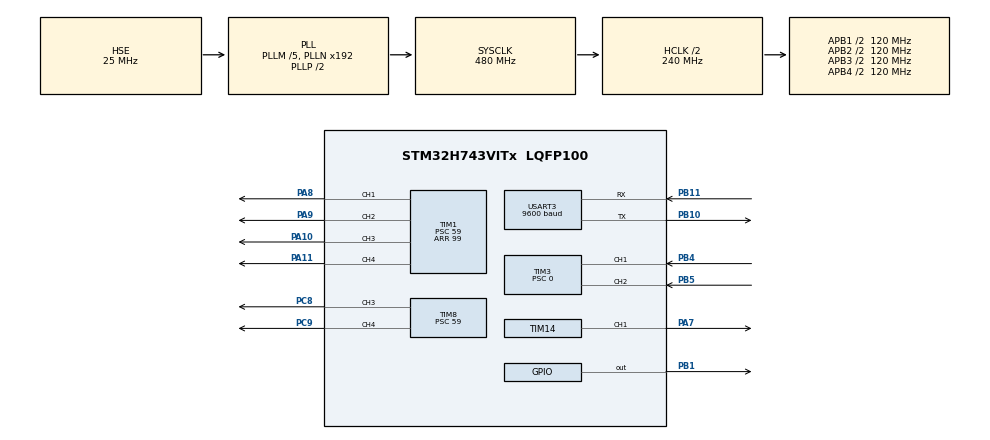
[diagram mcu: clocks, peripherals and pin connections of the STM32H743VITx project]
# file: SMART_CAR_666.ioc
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CORTEX_M7.default_mode_Activation=1
Dma.Request0=USART3_TX
Dma.USART3_TX.0.Direction=DMA_MEMORY_TO_PERIPH
Dma.USART3_TX.0.EventEnable=DISABLE
Dma.USART3_TX.0.FIFOMode=DMA_FIFOMODE_DISABLE
Dma.USART3_TX.0.Instance=DMA1_Stream0
Dma.USART3_TX.0.MemDataAlignment=DMA_MDATAALIGN_BYTE
Dma.USART3_TX.0.MemInc=DMA_MINC_ENABLE
Dma.USART3_TX.0.Mode=DMA_NORMAL
Dma.USART3_TX.0.PeriphDataAlignment=DMA_PDATAALIGN_BYTE
Dma.USART3_TX.0.PeriphInc=DMA_PINC_DISABLE
Dma.USART3_TX.0.Polarity=HAL_DMAMUX_REQ_GEN_RISING
Dma.USART3_TX.0.Priority=DMA_PRIORITY_LOW
Dma.USART3_TX.0.RequestNumber=1
Dma.USART3_TX.0.SignalID=NONE
Dma.USART3_TX.0.SyncEnable=DISABLE
Dma.USART3_TX.0.SyncPolarity=HAL_DMAMUX_SYNC_NO_EVENT
Dma.USART3_TX.0.SyncRequestNumber=1
Dma.USART3_TX.0.SyncSignalID=NONE
Mcu.Family=STM32H7
Mcu.Name=STM32H743VITx
Mcu.Package=LQFP100
NVIC.DMA1_Stream0_IRQn=true\:0\:0\:false\:false\:true\:false\:true\:true
NVIC.PriorityGroup=NVIC_PRIORITYGROUP_4
NVIC.USART3_IRQn=true\:0\:0\:false\:false\:true\:false\:true\:true
PA10.Signal=S_TIM1_CH3
PA11.Signal=S_TIM1_CH4
PA13\ (JTMS/SWDIO).Mode=Serial_Wire
PA13\ (JTMS/SWDIO).Signal=DEBUG_JTMS-SWDIO
PA14\ (JTCK/SWCLK).Mode=Serial_Wire
PA14\ (JTCK/SWCLK).Signal=DEBUG_JTCK-SWCLK
PA7.Signal=S_TIM14_CH1
PA8.Signal=S_TIM1_CH1
PA9.Signal=S_TIM1_CH2
PB1.Signal=GPIO_Output
PB10.Mode=Asynchronous
PB10.Signal=USART3_TX
PB11.Mode=Asynchronous
PB11.Signal=USART3_RX
PB4\ (NJTRST).GPIO_PuPd=GPIO_PULLUP
PB4\ (NJTRST).Signal=S_TIM3_CH1
PB5.GPIO_PuPd=GPIO_PULLUP
PB5.Signal=S_TIM3_CH2
PC8.Signal=S_TIM8_CH3
PC9.Signal=S_TIM8_CH4
PH0-OSC_IN\ (PH0).Mode=HSE-External-Oscillator
PH0-OSC_IN\ (PH0).Signal=RCC_OSC_IN
PH1-OSC_OUT\ (PH1).Mode=HSE-External-Oscillator
PH1-OSC_OUT\ (PH1).Signal=RCC_OSC_OUT
ProjectManager.HeapSize=0x200
ProjectManager.StackSize=0x400
ProjectManager.TargetToolchain=CMake
RCC.ADCFreq_Value=50390625
RCC.APB1Freq_Value=120000000
RCC.APB2Freq_Value=120000000
RCC.APB3Freq_Value=120000000
RCC.APB4Freq_Value=120000000
RCC.CortexFreq_Value=480000000
RCC.D1PPRE=RCC_APB3_DIV2
RCC.D2PPRE1=RCC_APB1_DIV2
RCC.D2PPRE2=RCC_APB2_DIV2
RCC.D3PPRE=RCC_APB4_DIV2
RCC.DIVM1=5
RCC.DIVN1=192
RCC.HCLKFreq_Value=240000000
RCC.HPRE=RCC_HCLK_DIV2
RCC.HSE_VALUE=25000000
RCC.PLLSourceVirtual=RCC_PLLSOURCE_HSE
RCC.PWR_Regulator_Voltage_Scale=PWR_REGULATOR_VOLTAGE_SCALE0
RCC.SYSCLKFreq_VALUE=480000000
RCC.SYSCLKSource=RCC_SYSCLKSOURCE_PLLCLK
RCC.USBFreq_Value=480000000
SH.S_TIM14_CH1.0=TIM14_CH1,PWM Generation1 CH1
SH.S_TIM1_CH1.0=TIM1_CH1,PWM Generation1 CH1
SH.S_TIM1_CH2.0=TIM1_CH2,PWM Generation2 CH2
SH.S_TIM1_CH3.0=TIM1_CH3,PWM Generation3 CH3
SH.S_TIM1_CH4.0=TIM1_CH4,PWM Generation4 CH4
SH.S_TIM3_CH1.0=TIM3_CH1,Encoder_Interface
SH.S_TIM3_CH2.0=TIM3_CH2,Encoder_Interface
SH.S_TIM8_CH3.0=TIM8_CH3,PWM Generation3 CH3
SH.S_TIM8_CH4.0=TIM8_CH4,PWM Generation4 CH4
TIM1.Channel-PWM\ Generation1\ CH1=TIM_CHANNEL_1
TIM1.Channel-PWM\ Generation2\ CH2=TIM_CHANNEL_2
TIM1.Channel-PWM\ Generation3\ CH3=TIM_CHANNEL_3
TIM1.Channel-PWM\ Generation4\ CH4=TIM_CHANNEL_4
TIM1.Period=99
TIM1.Prescaler=59
TIM14.Channel=TIM_CHANNEL_1
TIM14.Period=99
TIM14.Prescaler=59
TIM3.Period=65535
TIM3.Prescaler=0
TIM8.Channel-PWM\ Generation3\ CH3=TIM_CHANNEL_3
TIM8.Channel-PWM\ Generation4\ CH4=TIM_CHANNEL_4
TIM8.Period=99
TIM8.Prescaler=59
USART3.BaudRate=9600
USART3.VirtualMode-Asynchronous=VM_ASYNC
VP_MEMORYMAP_VS_MEMORYMAP.Mode=CurAppReg
VP_TIM14_VS_ClockSourceINT.Mode=Enable_Timer
VP_TIM8_VS_ClockSourceINT.Mode=Internal
board=custom

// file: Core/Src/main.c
/* USER CODE BEGIN Header */
/**
  ******************************************************************************
  * @file           : main.c
  * @brief          : Main program body
  ******************************************************************************
  * @attention
  *
  * Copyright (c) 2026 STMicroelectronics.
  * All rights reserved.
  *
  * This software is licensed under terms that can be found in the LICENSE file
  * in the root directory of this software component.
  * If no LICENSE file comes with this software, it is provided AS-IS.
  *
  ******************************************************************************
  */
/* USER CODE END Header */
#include "main.h"

/* USER CODE BEGIN Includes */
#include "Motor.h"
#include "Encoder.h"
#include "Serial.h"
#include "PID.h"
/* USER CODE END Includes */

/* USER CODE BEGIN PD */
#define APP_CONTROL_PERIOD_MS       UINT32_C(20)          //主循环每隔约20 ms读取编码器并更新电机PWM
#define APP_TELEMETRY_PERIOD_MS     UINT32_C(200)         //每隔约200 ms通过串口发送一行运行数据
#define APP_START_DELAY_MS          UINT32_C(300)         //从应用开始计时后，至少等待300 ms才允许输出设定的PWM
/* 每转计数未知时传0，只报告计数/s，避免将猜测参数用于转速或闭环。 */
#define APP_ENCODER_COUNTS_PER_REV  0.0f

/* 速度环串口命令字符 */
#define APP_SERIAL_CMD_SET_SPEED    'S'   /* S<数值>：设定目标速度 (counts/s) */
#define APP_SERIAL_CMD_ENABLE       'E'   /* E1/E0：使能/禁用速度环 */
#define APP_SERIAL_CMD_KP           'P'   /* P<数值>：设定Kp */
#define APP_SERIAL_CMD_KI           'I'   /* I<数值>：设定Ki */
#define APP_SERIAL_CMD_KD           'D'   /* D<数值>：设定Kd */

#define APP_SERIAL_CMD_BUFFER_SIZE  UINT32_C(32)

#define APP_FAULT_NONE              UINT32_C(0)
#define APP_FAULT_ENCODER           UINT32_C(1)
#define APP_FAULT_PWM               UINT32_C(2)
/* USER CODE END PD */

TIM_HandleTypeDef htim1;
TIM_HandleTypeDef htim3;
TIM_HandleTypeDef htim8;
TIM_HandleTypeDef htim14;

UART_HandleTypeDef huart3;
DMA_HandleTypeDef hdma_usart3_tx;

/* USER CODE BEGIN PV */
/* 前三路范围-99~99；第四路只正向，范围0~99。当前四路均给正命令。 */
// [WARNING]: 启动300ms后四路输出以下PWM；百分比不代表实测转速。
volatile int32_t g_motor1_command_percent = -20; /* TIM8：PC8 / PC9 *///后正
volatile int32_t g_motor2_command_percent = 0; /* TIM1：PA10 / PA11 *///前
volatile int32_t g_motor3_command_percent = -20; /* TIM1：PA8 / PA9 *///前
volatile int32_t g_motor4_command_percent = 20; /* TIM14：PA7，PB1固定低 *///后正
volatile uint32_t g_motor1_applied_percent = 0U;
volatile uint32_t g_motor2_applied_percent = 0U;
volatile uint32_t g_motor3_applied_percent = 0U;
volatile uint32_t g_motor4_applied_percent = 0U;
volatile float g_encoder_counts_per_second = 0.0f;
volatile int32_t g_encoder_delta_counts = 0;
volatile uint32_t g_app_fault = APP_FAULT_NONE;
volatile HAL_StatusTypeDef g_serial_last_status = HAL_OK;

/* 速度环闭环变量 */
static PID_TypeDef g_speed_pid;
static float g_speed_setpoint_cps = 0.0f;   /* 目标速度，counts/s */
static int32_t g_speed_loop_output = 0;     /* PID输出，PWM百分比 */
static uint8_t g_speed_loop_enabled = 0U;   /* 速度环使能标志 */
static char g_serial_cmd_buf[APP_SERIAL_CMD_BUFFER_SIZE];
static uint8_t g_serial_cmd_len = 0U;

static uint32_t app_start_tick;
static uint32_t last_control_tick;
static uint32_t last_telemetry_tick;
static uint8_t motor_initialized;
/* USER CODE END PV */

void SystemClock_Config(void);
static void MPU_Config(void);
static void MX_GPIO_Init(void);
static void MX_DMA_Init(void);
static void MX_TIM8_Init(void);
static void MX_USART3_UART_Init(void);
static void MX_TIM3_Init(void);
static void MX_TIM1_Init(void);
static void MX_TIM14_Init(void);
/* USER CODE BEGIN PFP */

/* 串口命令解析：S<速度> / E1|E0 / P<kp> / I<ki> / D<kd> */
void App_ProcessSerialCmd(const char *cmd);

/* USER CODE END PFP */

int main(void)
{

  /* MPU Configuration--------------------------------------------------------*/
  MPU_Config();

  /* MCU Configuration--------------------------------------------------------*/

  /* Reset of all peripherals, Initializes the Flash interface and the Systick. */
  HAL_Init();

  /* Configure the system clock */
  SystemClock_Config();

  /* Initialize all configured peripherals */
  MX_GPIO_Init();
  MX_DMA_Init();
  MX_TIM8_Init();
  MX_USART3_UART_Init();
  MX_TIM3_Init();
  MX_TIM1_Init();
  MX_TIM14_Init();
  /* USER CODE BEGIN 2 */
  /* CubeMX完成配置，这里只启动PWM、编码器和串口接收。 */
  if (Motor_Init() != HAL_OK)
  {
    g_app_fault = APP_FAULT_PWM;
    Error_Handler();
  }
  motor_initialized = 1U;

  if (Encoder_Init(APP_ENCODER_COUNTS_PER_REV) != HAL_OK)
  {
    g_app_fault = APP_FAULT_ENCODER;
    Error_Handler();
  }
  if (Serial_Init() != HAL_OK)
  {
    Error_Handler();
  }

  /* 速度环PID初始化；增益可通过串口命令 P/I/D 在线调整。 */
  PID_Init(&g_speed_pid, 1.0f, 0.5f, 0.0f);
  PID_LimitConfig(&g_speed_pid, 99.0f, -99.0f);
  PID_ChangeSP(&g_speed_pid, 0.0f);

  app_start_tick = HAL_GetTick();
  last_control_tick = app_start_tick;
  last_telemetry_tick = app_start_tick;
  /* 串口发送失败只记录状态，不阻止电机运行。 */
  g_serial_last_status =
      Serial_SendString("cmd1_pct,duty1_pct,cmd2_pct,duty2_pct,cmd3_pct,duty3_pct,cmd4_pct,duty4_pct,sp_cps,fps_cps,pid_out_pct,en,fault\r\n") != 0U
      ? HAL_OK : Serial_GetLastStatus();

  /* USER CODE END 2 */

  /* Infinite loop */
  while (1)
  {

    /* USER CODE BEGIN 3 */
    uint32_t now_tick;
    HAL_StatusTypeDef encoder_status;

    Serial_Proc();
    g_serial_last_status = Serial_GetLastStatus();
    now_tick = HAL_GetTick();

    /* ---------- 串口命令处理（非阻塞，逐字节读取） ---------- */
    {
      uint8_t rx_byte;
      while (Serial_ReadByte(&rx_byte) != 0U)
      {
        if ((rx_byte == '\r') || (rx_byte == '\n'))
        {
          /* 命令行结束，解析 */
          if (g_serial_cmd_len > 0U)
          {
            g_serial_cmd_buf[g_serial_cmd_len] = '\0';
            App_ProcessSerialCmd(g_serial_cmd_buf);
          }
          g_serial_cmd_len = 0U;
        }
        else if (g_serial_cmd_len < (APP_SERIAL_CMD_BUFFER_SIZE - 1U))
        {
          g_serial_cmd_buf[g_serial_cmd_len] = (char)rx_byte;
          g_serial_cmd_len++;
        }
      }
    }

    if ((uint32_t)(now_tick - last_control_tick) >= APP_CONTROL_PERIOD_MS)
    {
      last_control_tick = now_tick;
      /* 20ms只用于调度，不再因单次间隔超过100ms锁定停机。 */
      encoder_status = Encoder_Update();
      if ((encoder_status != HAL_OK) && (encoder_status != HAL_BUSY))
      {
        g_app_fault = APP_FAULT_ENCODER;
        Error_Handler();
      }
      g_encoder_counts_per_second = Encoder_GetCountsPerSecond_L();
      g_encoder_delta_counts = Encoder_GetDelta_L();

      /* ---------- 速度环闭环（电机1） ---------- */
      if (g_speed_loop_enabled != 0U)
      {
        if (Encoder_IsReady())
        {
          float feedback_cps = Encoder_GetCountsPerSecond_L();
          float pid_output = PID_Compute(&g_speed_pid, feedback_cps);
          g_speed_loop_output = (int32_t)pid_output;
          g_motor1_command_percent = g_speed_loop_output;
        }
        else
        {
          /* 编码器未就绪，禁止输出 */
          g_motor1_command_percent = 0;
          g_speed_loop_output = 0;
        }
      }

      if ((uint32_t)(now_tick - app_start_tick) >= APP_START_DELAY_MS)
      {
        if (Load(g_motor1_command_percent, g_motor2_command_percent,
                 g_motor3_command_percent, g_motor4_command_percent) != HAL_OK)
        {
          g_app_fault = APP_FAULT_PWM;
          Error_Handler();
        }
      }
      g_motor1_applied_percent = Motor_GetDuty1Percent();
      g_motor2_applied_percent = Motor_GetDuty2Percent();
      g_motor3_applied_percent = Motor_GetDuty3Percent();
      g_motor4_applied_percent = Motor_GetDuty4Percent();
    }

    if ((uint32_t)(now_tick - last_telemetry_tick) >= APP_TELEMETRY_PERIOD_MS)
    {
      last_telemetry_tick = now_tick;
      g_serial_last_status =
          Serial_Printf("%ld,%lu,%ld,%lu,%ld,%lu,%ld,%lu,%f,%f,%ld,%d,%u,%lu\r\n",
                        (long)g_motor1_command_percent,
                        (unsigned long)g_motor1_applied_percent,
                        (long)g_motor2_command_percent,
                        (unsigned long)g_motor2_applied_percent,
                        (long)g_motor3_command_percent,
                        (unsigned long)g_motor3_applied_percent,
                        (long)g_motor4_command_percent,
                        (unsigned long)g_motor4_applied_percent,
                        g_speed_setpoint_cps,           /* 目标速度 counts/s */
                        g_encoder_counts_per_second,    /* 实际速度 counts/s */
                        (long)g_speed_loop_output,      /* PID输出 PWM% */
                        (int)g_speed_loop_enabled,      /* 速度环使能 */
                        (unsigned long)g_app_fault) != 0U
          ? HAL_OK : Serial_GetLastStatus();
    }
  }
  /* USER CODE END 3 */
}

void SystemClock_Config(void)
{
  RCC_OscInitTypeDef RCC_OscInitStruct = {0};
  RCC_ClkInitTypeDef RCC_ClkInitStruct = {0};

  /** Supply configuration update enable
  */
  HAL_PWREx_ConfigSupply(PWR_LDO_SUPPLY);

  /** Configure the main internal regulator output voltage
  */
  __HAL_PWR_VOLTAGESCALING_CONFIG(PWR_REGULATOR_VOLTAGE_SCALE0);

  while(!__HAL_PWR_GET_FLAG(PWR_FLAG_VOSRDY)) {}

  /** Initializes the RCC Oscillators according to the specified parameters
  * in the RCC_OscInitTypeDef structure.
  */
  RCC_OscInitStruct.OscillatorType = RCC_OSCILLATORTYPE_HSE;
  RCC_OscInitStruct.HSEState = RCC_HSE_ON;
  RCC_OscInitStruct.PLL.PLLState = RCC_PLL_ON;
  RCC_OscInitStruct.PLL.PLLSource = RCC_PLLSOURCE_HSE;
  RCC_OscInitStruct.PLL.PLLM = 5;
  RCC_OscInitStruct.PLL.PLLN = 192;
  RCC_OscInitStruct.PLL.PLLP = 2;
  RCC_OscInitStruct.PLL.PLLQ = 2;
  RCC_OscInitStruct.PLL.PLLR = 2;
  RCC_OscInitStruct.PLL.PLLRGE = RCC_PLL1VCIRANGE_2;
  RCC_OscInitStruct.PLL.PLLVCOSEL = RCC_PLL1VCOWIDE;
  RCC_OscInitStruct.PLL.PLLFRACN = 0;
  if (HAL_RCC_OscConfig(&RCC_OscInitStruct) != HAL_OK)
  {
    Error_Handler();
  }

  /** Initializes the CPU, AHB and APB buses clocks
  */
  RCC_ClkInitStruct.ClockType = RCC_CLOCKTYPE_HCLK|RCC_CLOCKTYPE_SYSCLK
                              |RCC_CLOCKTYPE_PCLK1|RCC_CLOCKTYPE_PCLK2
                              |RCC_CLOCKTYPE_D3PCLK1|RCC_CLOCKTYPE_D1PCLK1;
  RCC_ClkInitStruct.SYSCLKSource = RCC_SYSCLKSOURCE_PLLCLK;
  RCC_ClkInitStruct.SYSCLKDivider = RCC_SYSCLK_DIV1;
  RCC_ClkInitStruct.AHBCLKDivider = RCC_HCLK_DIV2;
  RCC_ClkInitStruct.APB3CLKDivider = RCC_APB3_DIV2;
  RCC_ClkInitStruct.APB1CLKDivider = RCC_APB1_DIV2;
  RCC_ClkInitStruct.APB2CLKDivider = RCC_APB2_DIV2;
  RCC_ClkInitStruct.APB4CLKDivider = RCC_APB4_DIV2;

  if (HAL_RCC_ClockConfig(&RCC_ClkInitStruct, FLASH_LATENCY_4) != HAL_OK)
  {
    Error_Handler();
  }
}

static void MX_TIM1_Init(void)
{

  TIM_MasterConfigTypeDef sMasterConfig = {0};
  TIM_OC_InitTypeDef sConfigOC = {0};
  TIM_BreakDeadTimeConfigTypeDef sBreakDeadTimeConfig = {0};

  htim1.Instance = TIM1;
  htim1.Init.Prescaler = 59;
  htim1.Init.CounterMode = TIM_COUNTERMODE_UP;
  htim1.Init.Period = 99;
  htim1.Init.ClockDivision = TIM_CLOCKDIVISION_DIV1;
  htim1.Init.RepetitionCounter = 0;
  htim1.Init.AutoReloadPreload = TIM_AUTORELOAD_PRELOAD_DISABLE;
  if (HAL_TIM_PWM_Init(&htim1) != HAL_OK)
  {
    Error_Handler();
  }
  sMasterConfig.MasterOutputTrigger = TIM_TRGO_RESET;
  sMasterConfig.MasterOutputTrigger2 = TIM_TRGO2_RESET;
  sMasterConfig.MasterSlaveMode = TIM_MASTERSLAVEMODE_DISABLE;
  if (HAL_TIMEx_MasterConfigSynchronization(&htim1, &sMasterConfig) != HAL_OK)
  {
    Error_Handler();
  }
  sConfigOC.OCMode = TIM_OCMODE_PWM1;
  sConfigOC.Pulse = 0;
  sConfigOC.OCPolarity = TIM_OCPOLARITY_HIGH;
  sConfigOC.OCNPolarity = TIM_OCNPOLARITY_HIGH;
  sConfigOC.OCFastMode = TIM_OCFAST_DISABLE;
  sConfigOC.OCIdleState = TIM_OCIDLESTATE_RESET;
  sConfigOC.OCNIdleState = TIM_OCNIDLESTATE_RESET;
  if (HAL_TIM_PWM_ConfigChannel(&htim1, &sConfigOC, TIM_CHANNEL_1) != HAL_OK)
  {
    Error_Handler();
  }
  if (HAL_TIM_PWM_ConfigChannel(&htim1, &sConfigOC, TIM_CHANNEL_2) != HAL_OK)
  {
    Error_Handler();
  }
  if (HAL_TIM_PWM_ConfigChannel(&htim1, &sConfigOC, TIM_CHANNEL_3) != HAL_OK)
  {
    Error_Handler();
  }
  if (HAL_TIM_PWM_ConfigChannel(&htim1, &sConfigOC, TIM_CHANNEL_4) != HAL_OK)
  {
    Error_Handler();
  }
  sBreakDeadTimeConfig.OffStateRunMode = TIM_OSSR_DISABLE;
  sBreakDeadTimeConfig.OffStateIDLEMode = TIM_OSSI_DISABLE;
  sBreakDeadTimeConfig.LockLevel = TIM_LOCKLEVEL_OFF;
  sBreakDeadTimeConfig.DeadTime = 0;
  sBreakDeadTimeConfig.BreakState = TIM_BREAK_DISABLE;
  sBreakDeadTimeConfig.BreakPolarity = TIM_BREAKPOLARITY_HIGH;
  sBreakDeadTimeConfig.BreakFilter = 0;
  sBreakDeadTimeConfig.Break2State = TIM_BREAK2_DISABLE;
  sBreakDeadTimeConfig.Break2Polarity = TIM_BREAK2POLARITY_HIGH;
  sBreakDeadTimeConfig.Break2Filter = 0;
  sBreakDeadTimeConfig.AutomaticOutput = TIM_AUTOMATICOUTPUT_DISABLE;
  if (HAL_TIMEx_ConfigBreakDeadTime(&htim1, &sBreakDeadTimeConfig) != HAL_OK)
  {
    Error_Handler();
  }
  HAL_TIM_MspPostInit(&htim1);

}

static void MX_TIM3_Init(void)
{

  TIM_Encoder_InitTypeDef sConfig = {0};
  TIM_MasterConfigTypeDef sMasterConfig = {0};

  htim3.Instance = TIM3;
  htim3.Init.Prescaler = 0;
  htim3.Init.CounterMode = TIM_COUNTERMODE_UP;
  htim3.Init.Period = 65535;
  htim3.Init.ClockDivision = TIM_CLOCKDIVISION_DIV1;
  htim3.Init.AutoReloadPreload = TIM_AUTORELOAD_PRELOAD_DISABLE;
  sConfig.EncoderMode = TIM_ENCODERMODE_TI1;
  sConfig.IC1Polarity = TIM_ICPOLARITY_RISING;
  sConfig.IC1Selection = TIM_ICSELECTION_DIRECTTI;
  sConfig.IC1Prescaler = TIM_ICPSC_DIV1;
  sConfig.IC1Filter = 0;
  sConfig.IC2Polarity = TIM_ICPOLARITY_RISING;
  sConfig.IC2Selection = TIM_ICSELECTION_DIRECTTI;
  sConfig.IC2Prescaler = TIM_ICPSC_DIV1;
  sConfig.IC2Filter = 0;
  if (HAL_TIM_Encoder_Init(&htim3, &sConfig) != HAL_OK)
  {
    Error_Handler();
  }
  sMasterConfig.MasterOutputTrigger = TIM_TRGO_RESET;
  sMasterConfig.MasterSlaveMode = TIM_MASTERSLAVEMODE_DISABLE;
  if (HAL_TIMEx_MasterConfigSynchronization(&htim3, &sMasterConfig) != HAL_OK)
  {
    Error_Handler();
  }

}

static void MX_TIM8_Init(void)
{

  TIM_ClockConfigTypeDef sClockSourceConfig = {0};
  TIM_MasterConfigTypeDef sMasterConfig = {0};
  TIM_OC_InitTypeDef sConfigOC = {0};
  TIM_BreakDeadTimeConfigTypeDef sBreakDeadTimeConfig = {0};

  htim8.Instance = TIM8;
  htim8.Init.Prescaler = 59;
  htim8.Init.CounterMode = TIM_COUNTERMODE_UP;
  htim8.Init.Period = 99;
  htim8.Init.ClockDivision = TIM_CLOCKDIVISION_DIV1;
  htim8.Init.RepetitionCounter = 0;
  htim8.Init.AutoReloadPreload = TIM_AUTORELOAD_PRELOAD_DISABLE;
  if (HAL_TIM_Base_Init(&htim8) != HAL_OK)
  {
    Error_Handler();
  }
  sClockSourceConfig.ClockSource = TIM_CLOCKSOURCE_INTERNAL;
  if (HAL_TIM_ConfigClockSource(&htim8, &sClockSourceConfig) != HAL_OK)
  {
    Error_Handler();
  }
  if (HAL_TIM_PWM_Init(&htim8) != HAL_OK)
  {
    Error_Handler();
  }
  sMasterConfig.MasterOutputTrigger = TIM_TRGO_RESET;
  sMasterConfig.MasterOutputTrigger2 = TIM_TRGO2_RESET;
  sMasterConfig.MasterSlaveMode = TIM_MASTERSLAVEMODE_DISABLE;
  if (HAL_TIMEx_MasterConfigSynchronization(&htim8, &sMasterConfig) != HAL_OK)
  {
    Error_Handler();
  }
  sConfigOC.OCMode = TIM_OCMODE_PWM1;
  sConfigOC.Pulse = 0;
  sConfigOC.OCPolarity = TIM_OCPOLARITY_HIGH;
  sConfigOC.OCNPolarity = TIM_OCNPOLARITY_HIGH;
  sConfigOC.OCFastMode = TIM_OCFAST_DISABLE;
  sConfigOC.OCIdleState = TIM_OCIDLESTATE_RESET;
  sConfigOC.OCNIdleState = TIM_OCNIDLESTATE_RESET;
  if (HAL_TIM_PWM_ConfigChannel(&htim8, &sConfigOC, TIM_CHANNEL_3) != HAL_OK)
  {
    Error_Handler();
  }
  if (HAL_TIM_PWM_ConfigChannel(&htim8, &sConfigOC, TIM_CHANNEL_4) != HAL_OK)
  {
    Error_Handler();
  }
  sBreakDeadTimeConfig.OffStateRunMode = TIM_OSSR_DISABLE;
  sBreakDeadTimeConfig.OffStateIDLEMode = TIM_OSSI_DISABLE;
  sBreakDeadTimeConfig.LockLevel = TIM_LOCKLEVEL_OFF;
  sBreakDeadTimeConfig.DeadTime = 0;
  sBreakDeadTimeConfig.BreakState = TIM_BREAK_DISABLE;
  sBreakDeadTimeConfig.BreakPolarity = TIM_BREAKPOLARITY_HIGH;
  sBreakDeadTimeConfig.BreakFilter = 0;
  sBreakDeadTimeConfig.Break2State = TIM_BREAK2_DISABLE;
  sBreakDeadTimeConfig.Break2Polarity = TIM_BREAK2POLARITY_HIGH;
  sBreakDeadTimeConfig.Break2Filter = 0;
  sBreakDeadTimeConfig.AutomaticOutput = TIM_AUTOMATICOUTPUT_DISABLE;
  if (HAL_TIMEx_ConfigBreakDeadTime(&htim8, &sBreakDeadTimeConfig) != HAL_OK)
  {
    Error_Handler();
  }
  HAL_TIM_MspPostInit(&htim8);

}

static void MX_TIM14_Init(void)
{

  TIM_OC_InitTypeDef sConfigOC = {0};

  htim14.Instance = TIM14;
  htim14.Init.Prescaler = 59;
  htim14.Init.CounterMode = TIM_COUNTERMODE_UP;
  htim14.Init.Period = 99;
  htim14.Init.ClockDivision = TIM_CLOCKDIVISION_DIV1;
  htim14.Init.AutoReloadPreload = TIM_AUTORELOAD_PRELOAD_DISABLE;
  if (HAL_TIM_Base_Init(&htim14) != HAL_OK)
  {
    Error_Handler();
  }
  if (HAL_TIM_PWM_Init(&htim14) != HAL_OK)
  {
    Error_Handler();
  }
  sConfigOC.OCMode = TIM_OCMODE_PWM1;
  sConfigOC.Pulse = 0;
  sConfigOC.OCPolarity = TIM_OCPOLARITY_HIGH;
  sConfigOC.OCFastMode = TIM_OCFAST_DISABLE;
  if (HAL_TIM_PWM_ConfigChannel(&htim14, &sConfigOC, TIM_CHANNEL_1) != HAL_OK)
  {
    Error_Handler();
  }
  HAL_TIM_MspPostInit(&htim14);

}

static void MX_USART3_UART_Init(void)
{

  huart3.Instance = USART3;
  huart3.Init.BaudRate = 9600;
  huart3.Init.WordLength = UART_WORDLENGTH_8B;
  huart3.Init.StopBits = UART_STOPBITS_1;
  huart3.Init.Parity = UART_PARITY_NONE;
  huart3.Init.Mode = UART_MODE_TX_RX;
  huart3.Init.HwFlowCtl = UART_HWCONTROL_NONE;
  huart3.Init.OverSampling = UART_OVERSAMPLING_16;
  huart3.Init.OneBitSampling = UART_ONE_BIT_SAMPLE_DISABLE;
  huart3.Init.ClockPrescaler = UART_PRESCALER_DIV1;
  huart3.AdvancedInit.AdvFeatureInit = UART_ADVFEATURE_NO_INIT;
  if (HAL_UART_Init(&huart3) != HAL_OK)
  {
    Error_Handler();
  }
  if (HAL_UARTEx_SetTxFifoThreshold(&huart3, UART_TXFIFO_THRESHOLD_1_8) != HAL_OK)
  {
    Error_Handler();
  }
  if (HAL_UARTEx_SetRxFifoThreshold(&huart3, UART_RXFIFO_THRESHOLD_1_8) != HAL_OK)
  {
    Error_Handler();
  }
  if (HAL_UARTEx_DisableFifoMode(&huart3) != HAL_OK)
  {
    Error_Handler();
  }

}

static void MX_DMA_Init(void)
{

  /* DMA controller clock enable */
  __HAL_RCC_DMA1_CLK_ENABLE();

  /* DMA interrupt init */
  /* DMA1_Stream0_IRQn interrupt configuration */
  HAL_NVIC_SetPriority(DMA1_Stream0_IRQn, 0, 0);
  HAL_NVIC_EnableIRQ(DMA1_Stream0_IRQn);

}

static void MX_GPIO_Init(void)
{
  GPIO_InitTypeDef GPIO_InitStruct = {0};

  /* GPIO Ports Clock Enable */
  __HAL_RCC_GPIOH_CLK_ENABLE();
  __HAL_RCC_GPIOA_CLK_ENABLE();
  __HAL_RCC_GPIOB_CLK_ENABLE();
  __HAL_RCC_GPIOC_CLK_ENABLE();

  /*Configure GPIO pin Output Level */
  HAL_GPIO_WritePin(GPIOB, GPIO_PIN_1, GPIO_PIN_RESET);

  /*Configure GPIO pin : PB1 */
  GPIO_InitStruct.Pin = GPIO_PIN_1;
  GPIO_InitStruct.Mode = GPIO_MODE_OUTPUT_PP;
  GPIO_InitStruct.Pull = GPIO_NOPULL;
  GPIO_InitStruct.Speed = GPIO_SPEED_FREQ_LOW;
  HAL_GPIO_Init(GPIOB, &GPIO_InitStruct);

}

/* USER CODE BEGIN 4 */

/**
  * @brief  解析串口命令并调整速度环参数。
  *         支持命令格式（不区分大小写，命令字符后紧跟数值）：
  *           S<数值>   设定目标速度 (counts/s)，如 S100、S-50、S0
  *           E1        使能速度环；E0 禁用速度环（电机1恢复开环命令）
  *           P<数值>   设定PID比例增益 Kp，如 P1.5
  *           I<数值>   设定PID积分增益 Ki，如 I0.5
  *           D<数值>   设定PID微分增益 Kd，如 D0.0
  * @param  cmd: 空字符串结尾的命令字符串
  * @retval None
  */
void App_ProcessSerialCmd(const char *cmd)
{
  if (cmd == NULL) { return; }

  char code = cmd[0];
  if (code == '\0') { return; }

  const char *payload = cmd + 1;
  float value = 0.0f;
  int32_t parsed = 0;
  int32_t sign = 1;
  uint8_t has_digit = 0U;

  /* 简单解析带符号的十进制数（整数或小数） */
  if (*payload == '-') { sign = -1; payload++; }
  else if (*payload == '+') { payload++; }

  /* 解析整数部分 */
  while ((*payload >= '0') && (*payload <= '9'))
  {
    parsed = parsed * 10 + (*payload - '0');
    payload++;
    has_digit = 1U;
  }

  /* 解析小数部分 */
  if (*payload == '.')
  {
    payload++;
    float frac = 0.1f;
    while ((*payload >= '0') && (*payload <= '9'))
    {
      value += (float)((*payload - '0') * sign) * frac;
      frac *= 0.1f;
      payload++;
      has_digit = 1U;
    }
  }
  value += (float)parsed * (float)sign;

  if (has_digit == 0U) { return; }

  switch (code)
  {
    case 'S':
    case 's':
      g_speed_setpoint_cps = value;
      PID_ChangeSP(&g_speed_pid, g_speed_setpoint_cps);
      Serial_Printf("SP=%f\r\n", g_speed_setpoint_cps);
      break;

    case 'E':
    case 'e':
      g_speed_loop_enabled = (value != 0.0f) ? 1U : 0U;
      if (g_speed_loop_enabled == 0U)
      {
        PID_Reset(&g_speed_pid);
        g_motor1_command_percent = 0;
        g_speed_loop_output = 0;
      }
      Serial_Printf("EN=%u\r\n", g_speed_loop_enabled);
      break;

    case 'P':
    case 'p':
      g_speed_pid.Kp = value;
      Serial_Printf("Kp=%f\r\n", g_speed_pid.Kp);
      break;

    case 'I':
    case 'i':
      g_speed_pid.Ki = value;
      Serial_Printf("Ki=%f\r\n", g_speed_pid.Ki);
      break;

    case 'D':
    case 'd':
      g_speed_pid.Kd = value;
      Serial_Printf("Kd=%f\r\n", g_speed_pid.Kd);
      break;

    default:
      Serial_Printf("ERR:unknown cmd %c\r\n", code);
      break;
  }
}

/* USER CODE END 4 */

 /* MPU Configuration */

void MPU_Config(void)
{
  MPU_Region_InitTypeDef MPU_InitStruct = {0};

  /* Disables the MPU */
  HAL_MPU_Disable();

  /** Initializes and configures the Region and the memory to be protected
  */
  MPU_InitStruct.Enable = MPU_REGION_ENABLE;
  MPU_InitStruct.Number = MPU_REGION_NUMBER0;
  MPU_InitStruct.BaseAddress = 0x0;
  MPU_InitStruct.Size = MPU_REGION_SIZE_4GB;
  MPU_InitStruct.SubRegionDisable = 0x87;
  MPU_InitStruct.TypeExtField = MPU_TEX_LEVEL0;
  MPU_InitStruct.AccessPermission = MPU_REGION_NO_ACCESS;
  MPU_InitStruct.DisableExec = MPU_INSTRUCTION_ACCESS_DISABLE;
  MPU_InitStruct.IsShareable = MPU_ACCESS_SHAREABLE;
  MPU_InitStruct.IsCacheable = MPU_ACCESS_NOT_CACHEABLE;
  MPU_InitStruct.IsBufferable = MPU_ACCESS_NOT_BUFFERABLE;

  HAL_MPU_ConfigRegion(&MPU_InitStruct);
  /* Enables the MPU */
  HAL_MPU_Enable(MPU_PRIVILEGED_DEFAULT);

}

void Error_Handler(void)
{
  /* USER CODE BEGIN Error_Handler_Debug */
  /* 只在PWM已成功启动后访问输出；早期时钟/电源错误不触碰未就绪外设。 */
  if (motor_initialized != 0U)
  {
    Motor_Stop();
    g_motor1_applied_percent = 0U;
    g_motor2_applied_percent = 0U;
    g_motor3_applied_percent = 0U;
    g_motor4_applied_percent = 0U;
  }
  __disable_irq();
  while (1)
  {
  }
  /* USER CODE END Error_Handler_Debug */
}
